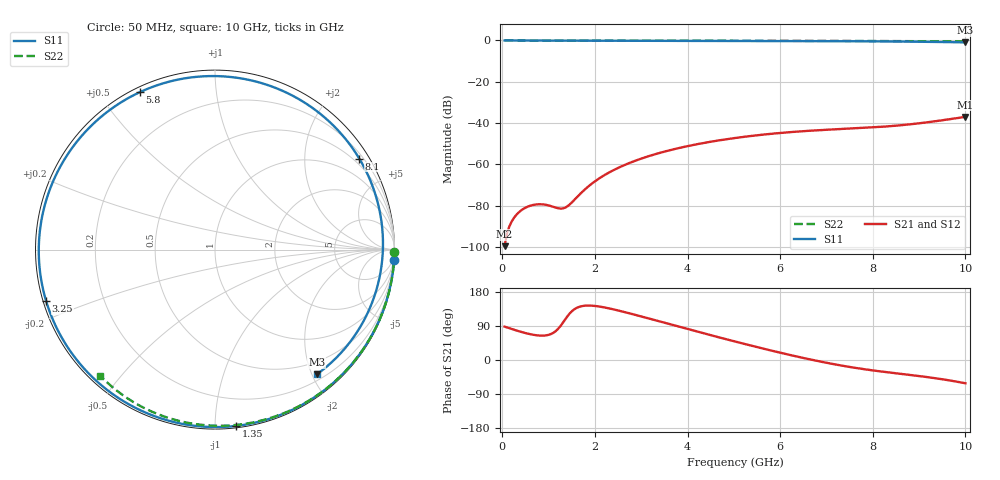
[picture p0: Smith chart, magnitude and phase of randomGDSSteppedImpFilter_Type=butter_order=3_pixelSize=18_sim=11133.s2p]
! freq	dB(S11)	phase(S11)	dB(S12)	phase(S12)
!  dB(S21)	phase(S21)	dB(S22)	phase(S22)
!S-par simulation data
#  GHz  S  DB  R 50
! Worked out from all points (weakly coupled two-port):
!   200 points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, 50 MHz to 10 GHz, reference 50 ohm
!   highest |S21| = -36.98 dB at 10 GHz (marker M1); lowest = -99.5 dB at 50 MHz (marker M2)
!   lowest |S11| = -0.9 dB at 10 GHz (marker M3), VSWR 18.46, Z = 14.5 - j104 ohm
!   |S11| at or under -10 dB: nowhere
!   |S22| runs from -0.4 to 0.0 dB; largest |S21 - S12| = 0
!   S11 on the Smith chart (normalised r, x): 50 MHz: 0, -34; 1.35 GHz: 0.01, -1.13; 3.25 GHz: 0.01, -0.15; 5.8 GHz: 0.02, +0.63; 8.1 GHz: 0.33, +3.43; 10 GHz: 0.29, -2.07
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0.05  -0.00 -3.4  -99.55 88.0  -99.55 88.0  -0.00 -0.8
0.4  -0.04 -26.6  -82.35 74.5  -82.35 74.5  -0.01 -6.1
0.75  -0.06 -48.8  -79.32 65.0  -79.32 65.0  -0.01 -11.4
1.05  -0.08 -66.6  -80.14 68.5  -80.14 68.5  -0.02 -15.9
1.35  -0.09 -83.2  -81.00 105.7  -81.00 105.7  -0.03 -20.4
1.45  -0.10 -88.4  -79.47 122.0  -79.47 122.0  -0.03 -21.9
1.75  -0.11 -103.3  -72.77 142.8  -72.77 142.8  -0.03 -26.4
2.05  -0.12 -116.9  -67.39 141.9  -67.39 141.9  -0.04 -30.8
2.4  -0.12 -131.6  -62.78 133.6  -62.78 133.6  -0.05 -35.9
3.25  -0.14 -163.0  -55.38 106.7  -55.38 106.7  -0.06 -48.1
3.4  -0.15 -168.1  -54.41 101.7  -54.41 101.7  -0.07 -50.3
4.2  -0.17 165.9  -50.24 75.3  -50.24 75.3  -0.09 -61.3
5.05  -0.21 139.4  -47.13 48.0  -47.13 48.0  -0.11 -72.7
5.8  -0.25 115.5  -45.19 25.1  -45.19 25.1  -0.14 -82.4
6.7  -0.30 85.1  -43.61 0.1  -43.61 0.1  -0.18 -93.7
7.4  -0.36 59.6  -42.77 -16.3  -42.77 -16.3  -0.22 -102.2
8.1  -0.44 32.2  -41.92 -29.1  -41.92 -29.1  -0.27 -110.5
8.35  -0.48 22.0  -41.52 -32.8  -41.52 -32.8  -0.29 -113.4
8.75  -0.55 5.1  -40.71 -38.6  -40.71 -38.6  -0.32 -118.1
9.15  -0.65 -12.3  -39.68 -44.7  -39.68 -44.7  -0.36 -122.6
9.55  -0.77 -30.2  -38.47 -51.8  -38.47 -51.8  -0.40 -127.2
10  -0.94 -50.8  -36.98 -61.4  -36.98 -61.4  -0.45 -132.3
